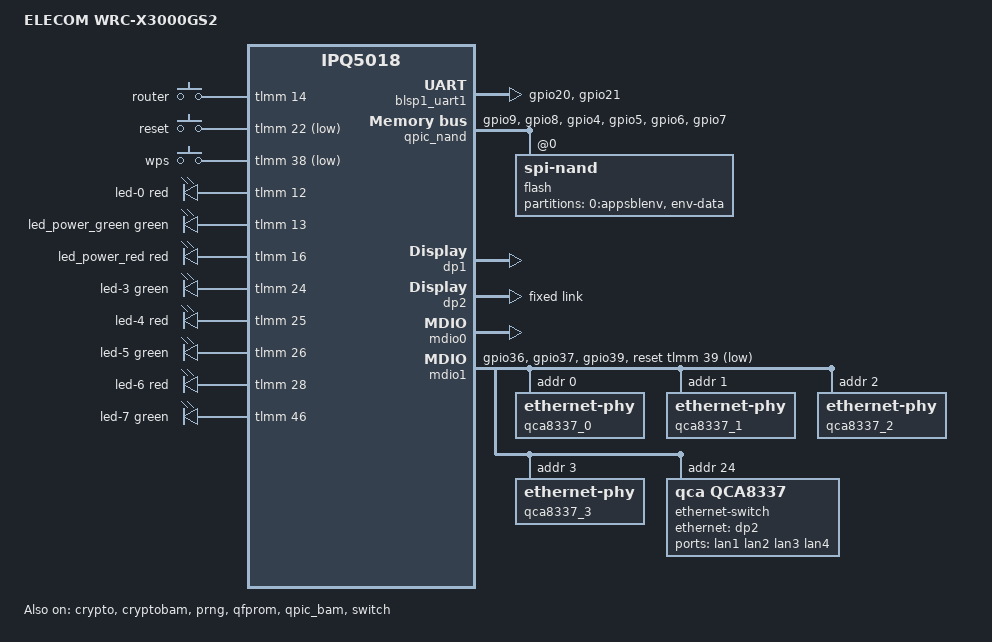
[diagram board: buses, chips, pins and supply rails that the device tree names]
// SPDX-License-Identifier: GPL-2.0-or-later OR MIT

/dts-v1/;

#include "ipq5018.dtsi"
#include "ipq5018-ess.dtsi"
#include "ipq5018-qcn6122.dtsi"

#include <dt-bindings/gpio/gpio.h>
#include <dt-bindings/input/input.h>
#include <dt-bindings/leds/common.h>

/ {
	model = "ELECOM WRC-X3000GS2";
	compatible = "elecom,wrc-x3000gs2", "qcom,ipq5018";

	aliases {
		serial0 = &blsp1_uart1;
		led-boot = &led_power_green;
		led-failsafe = &led_power_red;
		led-running = &led_power_green;
		led-upgrade = &led_power_green;
		label-mac-device = <&dp1>;
	};

	chosen {
		bootargs-append = " root=/dev/ubiblock0_1 coherent_pool=2M";
		stdout-path = "serial0:115200n8";
	};

	keys {
		compatible = "gpio-keys";
		pinctrl-0 = <&button_pins>;
		pinctrl-names = "default";

		switch-router {
			label = "router";
			gpios = <&tlmm 14 GPIO_ACTIVE_HIGH>;
			linux,code = <BTN_0>;
			linux,input-type = <EV_SW>;
		};

		reset-button {
			label = "reset";
			gpios = <&tlmm 22 GPIO_ACTIVE_LOW>;
			linux,code = <KEY_RESTART>;
		};

		wps-button {
			label = "wps";
			gpios = <&tlmm 38 GPIO_ACTIVE_LOW>;
			linux,code = <KEY_WPS_BUTTON>;
		};
	};

	leds {
		compatible = "gpio-leds";
		pinctrl-0 = <&led_pins>;
		pinctrl-names = "default";

		led-0 {
			gpios = <&tlmm 12 GPIO_ACTIVE_HIGH>;
			color = <LED_COLOR_ID_RED>;
			function = LED_FUNCTION_WPS;
		};

		led_power_green: led-1 {
			gpios = <&tlmm 13 GPIO_ACTIVE_HIGH>;
			color = <LED_COLOR_ID_GREEN>;
			function = LED_FUNCTION_POWER;
		};

		led_power_red: led-2 {
			gpios = <&tlmm 16 GPIO_ACTIVE_HIGH>;
			color = <LED_COLOR_ID_RED>;
			function = LED_FUNCTION_POWER;
		};

		led-3 {
			gpios = <&tlmm 24 GPIO_ACTIVE_HIGH>;
			color = <LED_COLOR_ID_GREEN>;
			function = LED_FUNCTION_WLAN_5GHZ;
			linux,default-trigger = "phy1radio";
		};

		led-4 {
			gpios = <&tlmm 25 GPIO_ACTIVE_HIGH>;
			color = <LED_COLOR_ID_RED>;
			function = LED_FUNCTION_WLAN_5GHZ;
		};

		led-5 {
			gpios = <&tlmm 26 GPIO_ACTIVE_HIGH>;
			color = <LED_COLOR_ID_GREEN>;
			function = LED_FUNCTION_WLAN_2GHZ;
			linux,default-trigger = "phy0radio";
		};

		led-6 {
			gpios = <&tlmm 28 GPIO_ACTIVE_HIGH>;
			color = <LED_COLOR_ID_RED>;
			function = LED_FUNCTION_WLAN_2GHZ;
		};

		led-7 {
			gpios = <&tlmm 46 GPIO_ACTIVE_HIGH>;
			color = <LED_COLOR_ID_GREEN>;
			function = LED_FUNCTION_WAN;
		};
	};
};

&sleep_clk {
	clock-frequency = <32000>;
};

&xo_board_clk {
	clock-div = <4>;
	clock-mult = <1>;
};

&blsp1_uart1 {
	status = "okay";

	pinctrl-0 = <&serial_0_pins>;
	pinctrl-names = "default";
};

&crypto {
	status = "okay";
};

&cryptobam {
	status = "okay";
};

&prng {
	status = "okay";
};

&qfprom {
	status = "okay";
};

&qpic_bam {
	status = "okay";
};

&qpic_nand {
	pinctrl-0 = <&qpic_pins>;
	pinctrl-names = "default";
	status = "okay";

	flash@0 {
		compatible = "spi-nand";
		reg = <0>;
		nand-ecc-engine = <&qpic_nand>;

		/* strength=8 breaks NAND I/O, use 4 instead */
		nand-ecc-strength = <4>;
		nand-ecc-step-size = <512>;
		nand-bus-width = <8>;

		partitions {
			compatible = "qcom,smem-part";

			partition-0-appsblenv {
				compatible = "fixed-partitions";
				label = "0:appsblenv";
				#address-cells = <1>;
				#size-cells = <1>;

				partition@0 {
					label = "env-data";
					reg = <0x0 0x40000>;

					nvmem-layout {
						compatible = "u-boot,env";

						macaddr_appsblenv_ethaddr: ethaddr {
							compatible = "mac-base";
							#nvmem-cell-cells = <1>;
						};
					};
				};
			};
		};
	};
};

&switch {
	status = "okay";

	switch_mac_mode = <MAC_MODE_SGMII_CHANNEL0>;

	qcom,port_phyinfo {
		port@0 {
			port_id = <1>;
			mdiobus = <&mdio0>;
			phy_address = <7>;
		};

		port@1 {
			port_id = <2>;
			forced-speed = <1000>;
			forced-duplex = <1>;
		};
	};
};

&dp1 {
	status = "okay";

	label = "wan";
	nvmem-cells = <&macaddr_appsblenv_ethaddr 3>;
	nvmem-cell-names = "mac-address";
};

&dp2 {
	status = "okay";

	nvmem-cells = <&macaddr_appsblenv_ethaddr 0>;
	nvmem-cell-names = "mac-address";

	fixed-link {
		speed = <1000>;
		full-duplex;
	};
};

&mdio0 {
	status = "okay";
};

&mdio1 {
	status = "okay";

	pinctrl-0 = <&mdio1_pins>, <&switch_reset_pins>;
	pinctrl-names = "default";
	reset-gpios = <&tlmm 39 GPIO_ACTIVE_LOW>;

	qca8337_0: ethernet-phy@0 {
		reg = <0>;
	};

	qca8337_1: ethernet-phy@1 {
		reg = <1>;
	};

	qca8337_2: ethernet-phy@2 {
		reg = <2>;
	};

	qca8337_3: ethernet-phy@3 {
		reg = <3>;
	};

	ethernet-switch@18 {
		compatible = "qca,qca8337";
		reg = <0x18>;
		#address-cells = <1>;
		#size-cells = <0>;

		ports {
			#address-cells = <1>;
			#size-cells = <0>;

			port@1 {
				reg = <1>;
				label = "lan1";
				phy-handle = <&qca8337_0>;
			};

			port@2 {
				reg = <2>;
				label = "lan2";
				phy-handle = <&qca8337_1>;
			};

			port@3 {
				reg = <3>;
				label = "lan3";
				phy-handle = <&qca8337_2>;
			};

			port@4 {
				reg = <4>;
				label = "lan4";
				phy-handle = <&qca8337_3>;
			};

			port@6 {
				reg = <6>;
				phy-mode = "sgmii";
				ethernet = <&dp2>;
				qca,sgmii-enable-pll;

				fixed-link {
					speed = <1000>;
					full-duplex;
				};
			};
		};
	};
};

&tlmm {
	button_pins: button-state {
		button-pins {
			pins = "gpio22", "gpio38";
			function = "gpio";
			drive-strength = <8>;
			bias-pull-up;
		};

		switch-pins {
			pins = "gpio14";
			function = "gpio";
			drive-strength = <8>;
			bias-pull-down;
		};
	};

	led_pins: led-state {
		pins = "gpio12", "gpio13", "gpio16", "gpio24",
		       "gpio25", "gpio26", "gpio28", "gpio46";
		function = "gpio";
		drive-strength = <8>;
		bias-pull-down;
	};

	mdio1_pins: mdio-state {
		mdc-pins {
			pins = "gpio36";
			function = "mdc";
			drive-strength = <8>;
			bias-pull-up;
		};

		mdio-pins {
			pins = "gpio37";
			function = "mdio";
			drive-strength = <8>;
			bias-pull-up;
		};
	};

	qpic_pins: qpic-state {
		clock-pins {
			pins = "gpio9";
			function = "qspi_clk";
			drive-strength = <8>;
			bias-disable;
		};

		cs-pins {
			pins = "gpio8";
			function = "qspi_cs";
			drive-strength = <8>;
			bias-disable;
		};

		data-pins {
			pins = "gpio4", "gpio5", "gpio6", "gpio7";
			function = "qspi_data";
			drive-strength = <8>;
			bias-disable;
		};
	};

	serial_0_pins: uart0-state {
		pins = "gpio20", "gpio21";
		function = "blsp0_uart0";
		bias-disable;
	};

	switch_reset_pins: switch-reset-state {
		pins = "gpio39";
		function = "gpio";
		drive-strength = <8>;
		bias-pull-down;
	};
};

/*
 * ath11k Wi-Fi consumes too large memory spaces and too few spaces are
 * available for users. To prevent OOM when using LuCI or other softwares,
 * disable Wi-Fi related peripherals at the moment.
 */
&q6v5_wcss {
	status = "disabled";

	boot-args = <0x2 4 2 18 0 0>; /* pcie:1, len:4, updid:2, reset:gpio18 */
};

&wifi {
	status = "disabled";

	qcom,rproc = <&q6_wcss_pd1>;
	qcom,userpd-subsys-name = "q6v5_wcss_userpd1";
	qcom,ath11k-calibration-variant = "ELECOM-WRC-X3000GS2";
	qcom,ath11k-fw-memory-mode = <2>;
	qcom,bdf-addr = <0x4c400000>;

	ieee80211-freq-limit = <2400000 2483000>;
};

&wifi1 {
	status = "disabled";

	qcom,rproc = <&q6_wcss_pd2>;
	qcom,userpd-subsys-name = "q6v5_wcss_userpd2";
	qcom,ath11k-calibration-variant = "ELECOM-WRC-X3000GS2";
	qcom,ath11k-fw-memory-mode = <2>;
	qcom,bdf-addr = <0x4d100000>;
	qcom,m3-dump-addr = <0x4df00000>;

	ieee80211-freq-limit = <5150000 5730000>;
};
